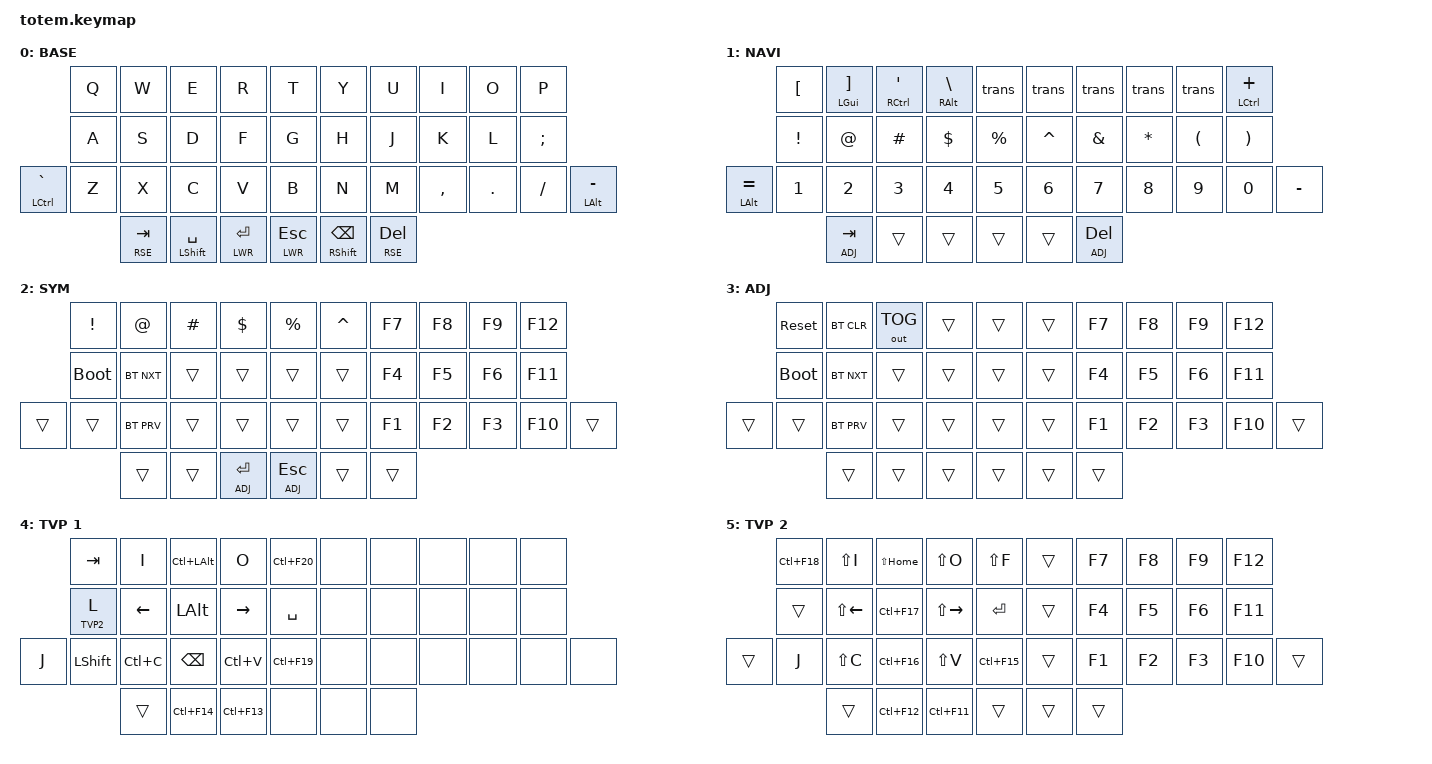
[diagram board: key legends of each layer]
//
//                                                        ▀▀▀▀▀     ▀▀▀▀▀          ▀▀█▀▀
//                                                        ▄▀▀▀▄  ▄  ▄▀▀▀▄  ▄  ▄▀▀▀▄  █  ▄▀▀▀▄
//                                                        █   █  █  █   █  █  █   █  █  █   █
//                                                         ▀▀▀   █   ▀▀▀   █   ▀▀▀   ▀   ▀▀▀
//                                                               █      ▄▄▄█▄▄▄    █   █  
//                                                               ▀      █  █  █     █▄█
//                                                             ▀▀▀▀▀    █  █  █      ▀
//                                                                      ▀  ▀  ▀
//
// ▄▄▄▄▄▄▄▄▄▄▄▄▄▄▄▄▄▄▄▄▄▄▄▄▄▄▄▄▄▄▄▄▄▄▄▄▄▄▄▄▄▄▄▄▄▄▄▄▄▄▄▄▄▄▄▄▄▄▄▄▄▄▄▄▄▄▄▄▄▄▄▄▄▄▄▄▄▄▄▄▄▄▄▄▄▄▄▄▄▄▄▄▄▄▄▄▄▄▄▄▄▄▄▄▄▄▄▄▄▄▄▄▄▄▄▄▄▄▄▄▄▄▄▄▄▄▄▄▄▄▄▄▄▄▄▄▄▄▄▄▄▄▄▄▄▄▄▄▄
       

#include <behaviors.dtsi>
#include <dt-bindings/zmk/keys.h>
#include <dt-bindings/zmk/bt.h>
#include <dt-bindings/zmk/outputs.h>

#define BASE 0
#define NAV  1
#define SYM  2
#define ADJ  3
#define TVP1 4
#define TVP2 5

#define DEF 0
#define LWR 1
#define RSE 2
#define ADJ 3
#define GAMING 4

&mt {
  quick-tap-ms = <100>;
  global-quick-tap;
  flavor = "tap-preferred";
  tapping-term-ms = <170>;
};

/ {
     combos {
            compatible = "zmk,combos";
            combo_esc {
                timeout-ms = <50>;
                key-positions = <0 1>;
                bindings = <&kp ESC>;
            };
            combo_tvp {
                timeout-ms = <100>;
                key-positions = <11 12 13>;
                bindings = <&tog TVP1>;
            };
    };

    macros {
        gif: gif {
            label = "giphy";
            compatible = "zmk,behavior-macro";
            #binding-cells = <0>;
            bindings
                = <&macro_press &kp LSHFT>
                , <&macro_tap &kp N2>
                , <&macro_release &kp LSHFT>
                , <&macro_tap &kp G &kp I &kp F>
                ;
        };
    };

        keymap {
                compatible = "zmk,keymap";
// ▄▄▄▄▄▄▄▄▄▄▄▄▄▄▄▄▄▄▄▄▄▄▄▄▄▄▄▄▄▄▄▄▄▄▄▄▄▄▄▄▄▄▄▄▄▄▄▄▄▄▄▄▄▄▄▄▄▄▄▄▄▄▄▄▄▄▄▄▄▄▄▄▄▄▄▄▄▄▄▄▄▄▄▄▄▄▄▄▄▄▄▄▄▄▄▄▄▄▄▄▄▄▄▄▄▄▄▄▄▄▄▄▄▄▄▄▄▄▄▄▄▄▄▄▄▄▄▄▄▄▄▄▄▄▄▄▄▄▄▄▄▄▄▄▄▄▄▄▄

                DEF_layer {
// ┏━━━━━━━━━━━━━━━━━━━━━━━━━━━━━━━━━━━━━━━┓
label= "BASE"                              ;
// ┗━━━━━━━━━━━━━━━━━━━━━━━━━━━━━━━━━━━━━━━┛
//             ┏━━━━━━━━━━━┳━━━━━━━━━━━┳━━━━━━━━━━━┳━━━━━━━━━━━┳━━━━━━━━━━━┓   ┏━━━━━━━━━━━┳━━━━━━━━━━━┳━━━━━━━━━━━┳━━━━━━━━━━━┳━━━━━━━━━━━┓
//             ┃     Q     ┃     W     ┃     E     ┃     R     ┃     T     ┃   ┃     Y     ┃     U     ┃     I     ┃     O     ┃     P     ┃
//             ┣━━━━━━━━━━━╋━━━━━━━━━━━╋━━━━━━━━━━━╋━━━━━━━━━━━╋━━━━━━━━━━━┫   ┣━━━━━━━━━━━╋━━━━━━━━━━━╋━━━━━━━━━━━╋━━━━━━━━━━━╋━━━━━━━━━━━┫
//             ┃     A     ┃     S     ┃     D     ┃     F     ┃     G     ┃   ┃     H     ┃     J     ┃     K     ┃     L     ┃     ;     ┃
// ┏━━━━━━━━━━━╋━━━━━━━━━━━╋━━━━━━━━━━━╋━━━━━━━━━━━╋━━━━━━━━━━━╋━━━━━━━━━━━┫   ┣━━━━━━━━━━━╋━━━━━━━━━━━╋━━━━━━━━━━━╋━━━━━━━━━━━╋━━━━━━━━━━━╋━━━━━━━━━━━┓
// ┃ Ctrl / `  ┃     Z     ┃     X     ┃     C     ┃     V     ┃     B     ┃   ┃     N     ┃     M     ┃     ,     ┃     .     ┃     /     ┃     -     ┃
// ┗━━━━━━━━━━━┻━━━━━━━━━━━┻━━━━━━━━━━━╋━━━━━━━━━━━╋━━━━━━━━━━━╋━━━━━━━━━━━┫   ┣━━━━━━━━━━━╋━━━━━━━━━━━╋━━━━━━━━━━━╋━━━━━━━━━━━┻━━━━━━━━━━━┻━━━━━━━━━━━┛
//                                     ┃    DEL    ┃    TAB    ┃    SPC    ┃   ┃   ENTER   ┃           ┃   BSPC    ┃
//                                     ┗━━━━━━━━━━━┻━━━━━━━━━━━┻━━━━━━━━━━━┛   ┗━━━━━━━━━━━┻━━━━━━━━━━━┻━━━━━━━━━━━┛
 bindings = <
// ╷           ╷           ╷           ╷           ╷           ╷           ╷   ╷           ╷           ╷           ╷           ╷           ╷           ╷

                &kp Q   &kp W   &kp E         &kp R             &kp T         &kp Y         &kp U            &kp I         &kp O     &kp P
                &kp A   &kp S   &kp D         &kp F             &kp G         &kp H         &kp J            &kp K         &kp L     &kp SEMI
    &mt LCTRL GRAVE       &kp Z   &kp X   &kp C         &kp V             &kp B         &kp N         &kp M            &kp COMMA     &kp DOT   &kp FSLH    &mt LALT MINUS
                                        &lt RSE TAB   &mt LSHFT SPACE   &lt LWR RET   &lt LWR ESC   &mt RSHFT BSPC   &lt RSE DEL
                        >;
                };

// ▄▄▄▄▄▄▄▄▄▄▄▄▄▄▄▄▄▄▄▄▄▄▄▄▄▄▄▄▄▄▄▄▄▄▄▄▄▄▄▄▄▄▄▄▄▄▄▄▄▄▄▄▄▄▄▄▄▄▄▄▄▄▄▄▄▄▄▄▄▄▄▄▄▄▄▄▄▄▄▄▄▄▄▄▄▄▄▄▄▄▄▄▄▄▄▄▄▄▄▄▄▄▄▄▄▄▄▄▄▄▄▄▄▄▄▄▄▄▄▄▄▄▄▄▄▄▄▄▄▄▄▄▄▄▄▄▄▄▄▄▄▄▄▄▄▄▄▄▄


                LWR_layer {
// ┏━━━━━━━━━━━━━━━━━━━━━━━━━━━━━━━━━━━━━━━┓
label= "NAVI"                              ;
// ┗━━━━━━━━━━━━━━━━━━━━━━━━━━━━━━━━━━━━━━━┛
//             ┏━━━━━━━━━━━┳━━━━━━━━━━━┳━━━━━━━━━━━┳━━━━━━━━━━━┳━━━━━━━━━━━┓   ┏━━━━━━━━━━━┳━━━━━━━━━━━┳━━━━━━━━━━━┳━━━━━━━━━━━┳━━━━━━━━━━━┓
//             ┃     [     ┃     ]     ┃     '     ┃     \     ┃           ┃   ┃           ┃           ┃           ┃           ┃     +     ┃
//             ┣━━━━━━━━━━━╋━━━━━━━━━━━╋━━━━━━━━━━━╋━━━━━━━━━━━╋━━━━━━━━━━━┫   ┣━━━━━━━━━━━╋━━━━━━━━━━━╋━━━━━━━━━━━╋━━━━━━━━━━━╋━━━━━━━━━━━┫
//             ┃     !     ┃     @     ┃     #     ┃     $     ┃     %     ┃   ┃     ^     ┃     &     ┃     *     ┃     (     ┃     )     ┃
// ┏━━━━━━━━━━━╋━━━━━━━━━━━╋━━━━━━━━━━━╋━━━━━━━━━━━╋━━━━━━━━━━━╋━━━━━━━━━━━┫   ┣━━━━━━━━━━━╋━━━━━━━━━━━╋━━━━━━━━━━━╋━━━━━━━━━━━╋━━━━━━━━━━━╋━━━━━━━━━━━┓
// ┃     =     ┃     1     ┃     2     ┃     3     ┃     4     ┃     5     ┃   ┃     6     ┃     7     ┃     9     ┃     9     ┃     0     ┃     -     ┃
// ┗━━━━━━━━━━━┻━━━━━━━━━━━┻━━━━━━━━━━━╋━━━━━━━━━━━╋━━━━━━━━━━━╋━━━━━━━━━━━┫   ┣━━━━━━━━━━━╋━━━━━━━━━━━╋━━━━━━━━━━━╋━━━━━━━━━━━┻━━━━━━━━━━━┻━━━━━━━━━━━┛
//                                     ┃    TAB    ┃           ┃           ┃   ┃           ┃           ┃    DEL    ┃
//                                     ┗━━━━━━━━━━━┻━━━━━━━━━━━┻━━━━━━━━━━━┛   ┗━━━━━━━━━━━┻━━━━━━━━━━━┻━━━━━━━━━━━┛
 bindings = <
// ╷           ╷           ╷           ╷           ╷           ╷           ╷   ╷           ╷           ╷           ╷           ╷           ╷           ╷

                        &kp LBKT        &mt LGUI RBKT   &mt RCTRL SQT   &mt RALT BSLH   &kp trans       &kp trans   &kp trans   &kp trans   &kp trans   &mt LCTRL PLUS
                        &kp EXCL        &kp AT          &kp HASH        &kp DLLR        &kp PRCNT       &kp CARET   &kp AMPS    &kp STAR    &kp LPAR    &kp RPAR
    &mt LALT EQUAL      &kp N1          &kp N2          &kp N3          &kp N4          &kp N5          &kp N6      &kp N7      &kp N8      &kp N9      &kp N0          &kp MINUS   
                                        &lt ADJ TAB   &trans     &trans      &trans      &trans     &lt ADJ DEL      
                        >;
                };

// ▄▄▄▄▄▄▄▄▄▄▄▄▄▄▄▄▄▄▄▄▄▄▄▄▄▄▄▄▄▄▄▄▄▄▄▄▄▄▄▄▄▄▄▄▄▄▄▄▄▄▄▄▄▄▄▄▄▄▄▄▄▄▄▄▄▄▄▄▄▄▄▄▄▄▄▄▄▄▄▄▄▄▄▄▄▄▄▄▄▄▄▄▄▄▄▄▄▄▄▄▄▄▄▄▄▄▄▄▄▄▄▄▄▄▄▄▄▄▄▄▄▄▄▄▄▄▄▄▄▄▄▄▄▄▄▄▄▄▄▄▄▄▄▄▄▄▄▄▄


                RSE_layer {
// ┏━━━━━━━━━━━━━━━━━━━━━━━━━━━━━━━━━━━━━━━┓
label= "SYM"                               ;
// ┗━━━━━━━━━━━━━━━━━━━━━━━━━━━━━━━━━━━━━━━┛
//             ┏━━━━━━━━━━━┳━━━━━━━━━━━┳━━━━━━━━━━━┳━━━━━━━━━━━┳━━━━━━━━━━━┓   ┏━━━━━━━━━━━┳━━━━━━━━━━━┳━━━━━━━━━━━┳━━━━━━━━━━━┳━━━━━━━━━━━┓
//             ┃     !     ┃     @     ┃     #     ┃     $     ┃     %     ┃   ┃     ˆ     ┃    F7     ┃    F8     ┃    F9     ┃    F12    ┃
//             ┣━━━━━━━━━━━╋━━━━━━━━━━━╋━━━━━━━━━━━╋━━━━━━━━━━━╋━━━━━━━━━━━┫   ┣━━━━━━━━━━━╋━━━━━━━━━━━╋━━━━━━━━━━━╋━━━━━━━━━━━╋━━━━━━━━━━━┫
//             ┃     Ä     ┃           ┃    SZ     ┃           ┃           ┃   ┃   MUTE    ┃    F4     ┃     F5    ┃    F6     ┃    F11    ┃
// ┏━━━━━━━━━━━╋━━━━━━━━━━━╋━━━━━━━━━━━╋━━━━━━━━━━━╋━━━━━━━━━━━╋━━━━━━━━━━━┫   ┣━━━━━━━━━━━╋━━━━━━━━━━━╋━━━━━━━━━━━╋━━━━━━━━━━━╋━━━━━━━━━━━╋━━━━━━━━━━━┓
// ┃           ┃  EMAIL1   ┃  EMAIL2   ┃           ┃           ┃           ┃   ┃   VOL-    ┃    F1     ┃    F2     ┃    F3     ┃    F10    ┃           ┃
// ┗━━━━━━━━━━━┻━━━━━━━━━━━┻━━━━━━━━━━━╋━━━━━━━━━━━╋━━━━━━━━━━━╋━━━━━━━━━━━┫   ┣━━━━━━━━━━━╋━━━━━━━━━━━╋━━━━━━━━━━━╋━━━━━━━━━━━┻━━━━━━━━━━━┻━━━━━━━━━━━┛
//                                     ┃           ┃    GIF    ┃    ADJ    ┃   ┃           ┃           ┃           ┃
//                                     ┗━━━━━━━━━━━┻━━━━━━━━━━━┻━━━━━━━━━━━┛   ┗━━━━━━━━━━━┻━━━━━━━━━━━┻━━━━━━━━━━━┛
 bindings = <
// ╷           ╷           ╷           ╷           ╷           ╷           ╷   ╷           ╷           ╷           ╷           ╷           ╷           ╷

                &kp EXCL    &kp AT      &kp HASH    &kp DLLR    &kp PRCNT       &kp CARET   &kp F7      &kp F8      &kp F9      &kp F12
                &bootloader &bt BT_NXT  &trans      &trans      &trans          &trans      &kp F4      &kp F5      &kp F6      &kp F11  
    &trans      &trans      &bt BT_PRV  &trans      &trans      &trans          &trans      &kp F1      &kp F2      &kp F3      &kp F10   &trans         
                                        &trans      &trans      &lt ADJ RET    &lt ADJ ESC    &trans     &trans      
                        >;
                };

// ▄▄▄▄▄▄▄▄▄▄▄▄▄▄▄▄▄▄▄▄▄▄▄▄▄▄▄▄▄▄▄▄▄▄▄▄▄▄▄▄▄▄▄▄▄▄▄▄▄▄▄▄▄▄▄▄▄▄▄▄▄▄▄▄▄▄▄▄▄▄▄▄▄▄▄▄▄▄▄▄▄▄▄▄▄▄▄▄▄▄▄▄▄▄▄▄▄▄▄▄▄▄▄▄▄▄▄▄▄▄▄▄▄▄▄▄▄▄▄▄▄▄▄▄▄▄▄▄▄▄▄▄▄▄▄▄▄▄▄▄▄▄▄▄▄▄▄▄▄


                ADJ_layer {
// ┏━━━━━━━━━━━━━━━━━━━━━━━━━━━━━━━━━━━━━━━┓
label= "ADJ"                               ;
// ┗━━━━━━━━━━━━━━━━━━━━━━━━━━━━━━━━━━━━━━━┛
//             ┏━━━━━━━━━━━┳━━━━━━━━━━━┳━━━━━━━━━━━┳━━━━━━━━━━━┳━━━━━━━━━━━┓   ┏━━━━━━━━━━━┳━━━━━━━━━━━┳━━━━━━━━━━━┳━━━━━━━━━━━┳━━━━━━━━━━━┓
//             ┃   RESET   ┃ BT CLEAR  ┃  OUT TOG  ┃           ┃           ┃   ┃           ┃    F7     ┃    F8     ┃    F9     ┃    F12    ┃
//             ┣━━━━━━━━━━━╋━━━━━━━━━━━╋━━━━━━━━━━━╋━━━━━━━━━━━╋━━━━━━━━━━━┫   ┣━━━━━━━━━━━╋━━━━━━━━━━━╋━━━━━━━━━━━╋━━━━━━━━━━━╋━━━━━━━━━━━┫
//             ┃ BOOTLOAD  ┃ BT NEXT   ┃           ┃           ┃           ┃   ┃           ┃    F4     ┃    F5     ┃    F6     ┃    F11    ┃
// ┏━━━━━━━━━━━╋━━━━━━━━━━━╋━━━━━━━━━━━╋━━━━━━━━━━━╋━━━━━━━━━━━╋━━━━━━━━━━━┫   ┣━━━━━━━━━━━╋━━━━━━━━━━━╋━━━━━━━━━━━╋━━━━━━━━━━━╋━━━━━━━━━━━╋━━━━━━━━━━━┓
// ┃           ┃           ┃ BT PREV   ┃           ┃           ┃           ┃   ┃           ┃    F1     ┃    F2     ┃    F3     ┃    F10    ┃           ┃
// ┗━━━━━━━━━━━┻━━━━━━━━━━━┻━━━━━━━━━━━╋━━━━━━━━━━━╋━━━━━━━━━━━╋━━━━━━━━━━━┫   ┣━━━━━━━━━━━╋━━━━━━━━━━━╋━━━━━━━━━━━╋━━━━━━━━━━━┻━━━━━━━━━━━┻━━━━━━━━━━━┛
//                                     ┃           ┃           ┃           ┃   ┃           ┃           ┃           ┃
//                                     ┗━━━━━━━━━━━┻━━━━━━━━━━━┻━━━━━━━━━━━┛   ┗━━━━━━━━━━━┻━━━━━━━━━━━┻━━━━━━━━━━━┛
 bindings = <
// ╷           ╷           ╷           ╷           ╷           ╷           ╷   ╷           ╷           ╷           ╷           ╷           ╷           ╷

                &sys_reset  &bt BT_CLR &out OUT_TOG &trans      &trans          &trans      &kp F7      &kp F8      &kp F9      &kp F12
                &bootloader &bt BT_NXT  &trans      &trans      &trans          &trans      &kp F4      &kp F5      &kp F6      &kp F11  
    &trans      &trans      &bt BT_PRV  &trans      &trans      &trans          &trans      &kp F1      &kp F2      &kp F3      &kp F10     &trans         
                                        &trans      &trans      &trans          &trans      &trans      &trans      
                        >;
                };

// ▄▄▄▄▄▄▄▄▄▄▄▄▄▄▄▄▄▄▄▄▄▄▄▄▄▄▄▄▄▄▄▄▄▄▄▄▄▄▄▄▄▄▄▄▄▄▄▄▄▄▄▄▄▄▄▄▄▄▄▄▄▄▄▄▄▄▄▄▄▄▄▄▄▄▄▄▄▄▄▄▄▄▄▄▄▄▄▄▄▄▄▄▄▄▄▄▄▄▄▄▄▄▄▄▄▄▄▄▄▄▄▄▄▄▄▄▄▄▄▄▄▄▄▄▄▄▄▄▄▄▄▄▄▄▄▄▄▄▄▄▄▄▄▄▄▄▄▄▄


                tvp1_layer {
// ┏━━━━━━━━━━━━━━━━━━━━━━━━━━━━━━━━━━━━━━━┓
label= "TVP 1"                             ;
// ┗━━━━━━━━━━━━━━━━━━━━━━━━━━━━━━━━━━━━━━━┛
//             ┏━━━━━━━━━━━┳━━━━━━━━━━━┳━━━━━━━━━━━┳━━━━━━━━━━━┳━━━━━━━━━━━┓   ┏━━━━━━━━━━━┳━━━━━━━━━━━┳━━━━━━━━━━━┳━━━━━━━━━━━┳━━━━━━━━━━━┓
//             ┃ NEXT FILE ┃ MARK IN   ┃ ROTATE    ┃ MARK OUT  ┃ SHOW SNAP ┃   ┃           ┃           ┃           ┃           ┃           ┃
//             ┣━━━━━━━━━━━╋━━━━━━━━━━━╋━━━━━━━━━━━╋━━━━━━━━━━━╋━━━━━━━━━━━┫   ┣━━━━━━━━━━━╋━━━━━━━━━━━╋━━━━━━━━━━━╋━━━━━━━━━━━╋━━━━━━━━━━━┫
//             ┃ TVP II    ┃ LEFT      ┃ PAN       ┃ RIGHT     ┃ PLAY/FLIP ┃   ┃           ┃           ┃           ┃           ┃           ┃
// ┏━━━━━━━━━━━╋━━━━━━━━━━━╋━━━━━━━━━━━╋━━━━━━━━━━━╋━━━━━━━━━━━╋━━━━━━━━━━━┫   ┣━━━━━━━━━━━╋━━━━━━━━━━━╋━━━━━━━━━━━╋━━━━━━━━━━━╋━━━━━━━━━━━╋━━━━━━━━━━━┓
// ┃ FULLSCR   ┃ SHIFT     ┃ COPY      ┃ DELETE    ┃ PASTE     ┃ IMG MARK  ┃   ┃           ┃           ┃           ┃           ┃           ┃           ┃
// ┗━━━━━━━━━━━┻━━━━━━━━━━━┻━━━━━━━━━━━╋━━━━━━━━━━━╋━━━━━━━━━━━╋━━━━━━━━━━━┫   ┣━━━━━━━━━━━╋━━━━━━━━━━━╋━━━━━━━━━━━╋━━━━━━━━━━━┻━━━━━━━━━━━┻━━━━━━━━━━━┛
//                                     ┃           ┃ UNDO/SAVE ┃  SEL/MOV  ┃   ┃           ┃           ┃           ┃
//                                     ┗━━━━━━━━━━━┻━━━━━━━━━━━┻━━━━━━━━━━━┛   ┗━━━━━━━━━━━┻━━━━━━━━━━━┻━━━━━━━━━━━┛
 bindings = <
// ╷           ╷           ╷           ╷           ╷           ╷           ╷   ╷           ╷           ╷           ╷           ╷           ╷           ╷

                &kp TAB     &kp I       &kp LC(LALT) &kp O      &kp LC(F20)     &none       &none       &none       &none       &none
                &lt TVP2 L  &kp LEFT    &kp LALT    &kp RIGHT   &kp SPACE       &none       &none       &none       &none       &none
    &kp J       &kp LSHFT   &kp LC(C)   &kp BSPC    &kp LC(V)   &kp LC(F19)     &none       &none       &none       &none       &none       &none        
                                        &trans      &kp LC(F14) &kp LC(F13)     &none       &none       &none    
                        >;
                };

// ▄▄▄▄▄▄▄▄▄▄▄▄▄▄▄▄▄▄▄▄▄▄▄▄▄▄▄▄▄▄▄▄▄▄▄▄▄▄▄▄▄▄▄▄▄▄▄▄▄▄▄▄▄▄▄▄▄▄▄▄▄▄▄▄▄▄▄▄▄▄▄▄▄▄▄▄▄▄▄▄▄▄▄▄▄▄▄▄▄▄▄▄▄▄▄▄▄▄▄▄▄▄▄▄▄▄▄▄▄▄▄▄▄▄▄▄▄▄▄▄▄▄▄▄▄▄▄▄▄▄▄▄▄▄▄▄▄▄▄▄▄▄▄▄▄▄▄▄▄


                tvp2_layer {
// ┏━━━━━━━━━━━━━━━━━━━━━━━━━━━━━━━━━━━━━━━┓
label= "TVP 2"                             ;
// ┗━━━━━━━━━━━━━━━━━━━━━━━━━━━━━━━━━━━━━━━┛
//             ┏━━━━━━━━━━━┳━━━━━━━━━━━┳━━━━━━━━━━━┳━━━━━━━━━━━┳━━━━━━━━━━━┓   ┏━━━━━━━━━━━┳━━━━━━━━━━━┳━━━━━━━━━━━┳━━━━━━━━━━━┳━━━━━━━━━━━┓
//             ┃ SOLO      ┃ TOGGLE IN ┃ RESET ROT ┃ TOGGLE OUT┃ TAKE SNAP ┃   ┃           ┃           ┃           ┃           ┃           ┃
//             ┣━━━━━━━━━━━╋━━━━━━━━━━━╋━━━━━━━━━━━╋━━━━━━━━━━━╋━━━━━━━━━━━┫   ┣━━━━━━━━━━━╋━━━━━━━━━━━╋━━━━━━━━━━━╋━━━━━━━━━━━╋━━━━━━━━━━━┫
//             ┃ ---       ┃ LAST KEY  ┃ NEW KEY   ┃ NEXT KEY  ┃ ENTER     ┃   ┃           ┃           ┃           ┃           ┃           ┃
// ┏━━━━━━━━━━━╋━━━━━━━━━━━╋━━━━━━━━━━━╋━━━━━━━━━━━╋━━━━━━━━━━━╋━━━━━━━━━━━┫   ┣━━━━━━━━━━━╋━━━━━━━━━━━╋━━━━━━━━━━━╋━━━━━━━━━━━╋━━━━━━━━━━━╋━━━━━━━━━━━┓
// ┃           ┃ FULLSCR   ┃ CPY2BRUSH ┃ DEL HEAD  ┃ PSTinPLACE┃ BOOK MARK ┃   ┃           ┃           ┃           ┃           ┃           ┃           ┃
// ┗━━━━━━━━━━━┻━━━━━━━━━━━┻━━━━━━━━━━━╋━━━━━━━━━━━╋━━━━━━━━━━━╋━━━━━━━━━━━┫   ┣━━━━━━━━━━━╋━━━━━━━━━━━╋━━━━━━━━━━━╋━━━━━━━━━━━┻━━━━━━━━━━━┻━━━━━━━━━━━┛
//                                     ┃           ┃ REDO/SAV1 ┃TRANS/WARP ┃   ┃           ┃           ┃           ┃
//                                     ┗━━━━━━━━━━━┻━━━━━━━━━━━┻━━━━━━━━━━━┛   ┗━━━━━━━━━━━┻━━━━━━━━━━━┻━━━━━━━━━━━┛
 bindings = <
// ╷           ╷           ╷           ╷           ╷           ╷           ╷   ╷           ╷           ╷           ╷           ╷           ╷           ╷

                &kp LC(F18) &kp LS(I)  &kp LS(HOME) &kp LS(O)   &kp LS(F)       &trans      &kp F7      &kp F8      &kp F9      &kp F12
                &trans      &kp LS(LEFT) &kp LC(F17) &kp LS(RIGHT) &kp RET      &trans      &kp F4      &kp F5      &kp F6      &kp F11  
    &trans      &kp J       &kp LS(C)   &kp LC(F16) &kp LS(V)   &kp LC(F15)     &trans      &kp F1      &kp F2      &kp F3      &kp F10     &trans         
                                        &trans      &kp LC(F12) &kp LC(F11)     &trans      &trans      &trans      
                        >;
                };
        };
};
